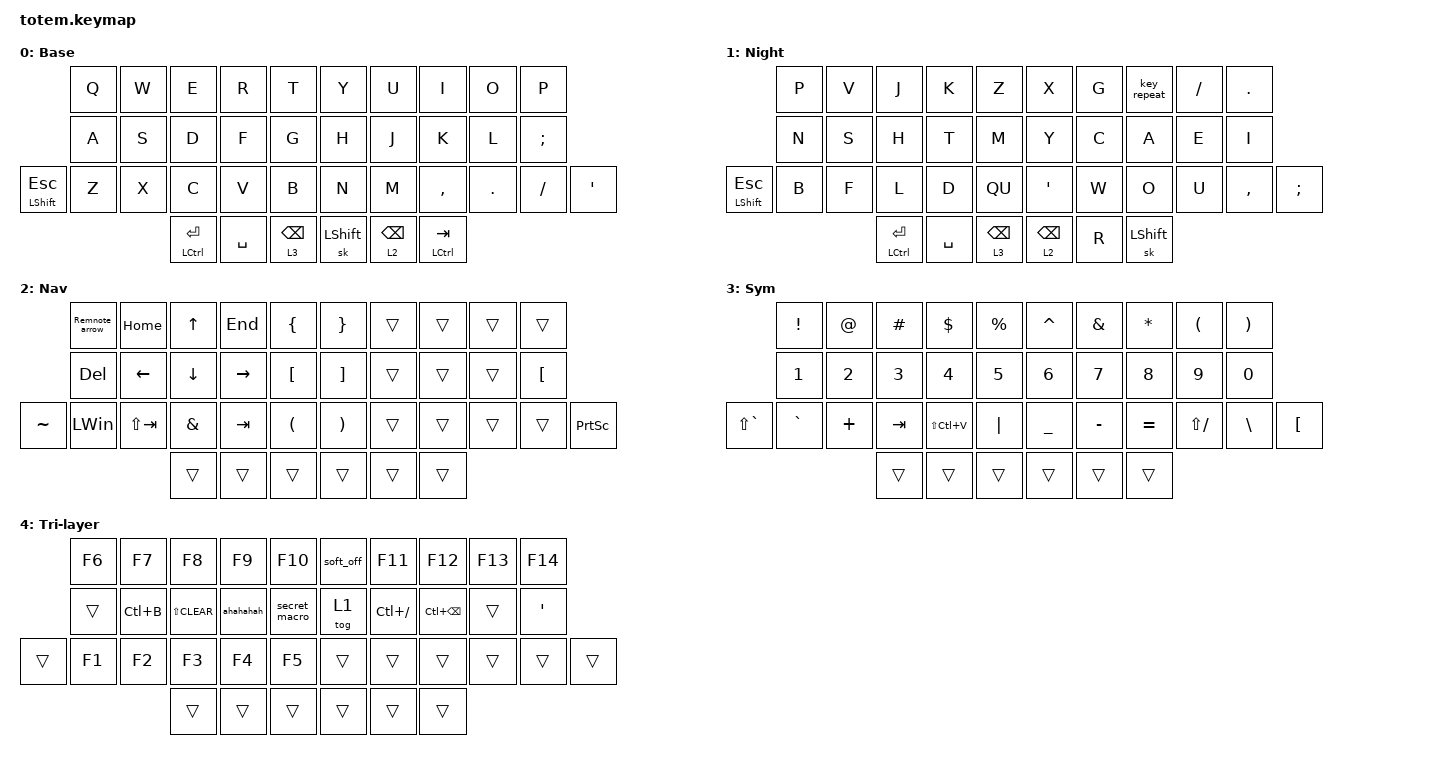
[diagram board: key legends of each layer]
//
//                                                        ▀▀▀▀▀     ▀▀▀▀▀          ▀▀█▀▀
//                                                        ▄▀▀▀▄  ▄  ▄▀▀▀▄  ▄  ▄▀▀▀▄  █  ▄▀▀▀▄
//                                                        █   █  █  █   █  █  █   █  █  █   █
//                                                         ▀▀▀   █   ▀▀▀   █   ▀▀▀   ▀   ▀▀▀
//                                                               █      ▄▄▄█▄▄▄    █   █  
//                                                               ▀      █  █  █     █▄█
//                                                             ▀▀▀▀▀    █  █  █      ▀
//                                                                      ▀  ▀  ▀
//
// ▄▄▄▄▄▄▄▄▄▄▄▄▄▄▄▄▄▄▄▄▄▄▄▄▄▄▄▄▄▄▄▄▄▄▄▄▄▄▄▄▄▄▄▄▄▄▄▄▄▄▄▄▄▄▄▄▄▄▄▄▄▄▄▄▄▄▄▄▄▄▄▄▄▄▄▄▄▄▄▄▄▄▄▄▄▄▄▄▄▄▄▄▄▄▄▄▄▄▄▄▄▄▄▄▄▄▄▄▄▄▄▄▄▄▄▄▄▄▄▄▄▄▄▄▄▄▄▄▄▄▄▄▄▄▄▄▄▄▄▄▄▄▄▄▄▄▄▄▄

#include <behaviors.dtsi>
#include <dt-bindings/zmk/keys.h>

#define Base        0
#define Nav         1
#define Sym         2
#define Fun         3
#define Game        4
#define Gameplus    5

&mt {
    quick-tap-ms = <160>;
    global-quick-tap;
    flavor = "hold-preferred";
    tapping-term-ms = <200>;
};

&lt {
    tapping-term-ms = <200>;
    flavor = "hold-preferred";
    quick-tap-ms = <160>;
};

/ {
    #include "secret_macro.overlay" // separate overlay file
    behaviors {
        hm: homerow_mods {
            compatible = "zmk,behavior-hold-tap";
            label = "HOMEROW_MODS";
            #binding-cells = <2>;
            flavor = "tap-preferred";
            tapping-term-ms = <200>;
            quick-tap-ms = <125>;
            global-quick-tap;
            bindings = <&kp>, <&kp>;
        };
    };

    combos {
        compatible = "zmk,combos";

        Del {
            bindings = <&kp DEL>;
            key-positions = <0 1>;
        };

        Lang {
            bindings = <&kp CAPSLOCK>;
            key-positions = <2 13>;
        };

        PrtSc {
            bindings = <&kp PRINTSCREEN>;
            key-positions = <5 15>;
        };

        Capture_full_screen {
            bindings = <&kp KP_PLUS>;
            key-positions = <9 31>;
        };

        Tab {
            bindings = <&kp TAB>;
            key-positions = <22 21>;
        };

        Tri-layer {
            bindings = <&mo 4>;
            key-positions = <33 36>;
        };

        OO {
            bindings = <&OO>;
            key-positions = <28 27>;
        };
    };

    macros {
        QU: QU {
            compatible = "zmk,behavior-macro";
            #binding-cells = <0>;
            bindings = <&kp Q &kp U>;
            label = "QU";
        };

        Remnote_arrow: Remnote_arrow {
            compatible = "zmk,behavior-macro";
            #binding-cells = <0>;
            bindings = <&kp GREATER_THAN &kp GREATER_THAN>;
            label = "REMNOTE_ARROW";
        };
    };

    keymap {
        compatible = "zmk,keymap";

        QWERTY {
            display-name = "Base";
            bindings = <
               &kp Q  &kp W  &kp E            &kp R      &kp T         &kp Y       &kp U       &kp I          &kp O    &kp P
               &kp A  &kp S  &kp D            &kp F      &kp G         &kp H       &kp J       &kp K          &kp L    &kp SEMICOLON
&mt LSHFT ESC  &kp Z  &kp X  &kp C            &kp V      &kp B         &kp N       &kp M       &kp COMMA      &kp DOT  &kp SLASH      &kp APOSTROPHE
                             &mt LCTRL ENTER  &kp SPACE  &lt 3 BSPC    &sk LSHIFT  &lt 2 BSPC  &mt LCTRL TAB
            >;
        };

        Night {
            display-name = "Night";
            bindings = <
               &kp P  &kp V  &kp J            &kp K      &kp Z              &kp X            &kp G  &key_repeat  &kp SLASH  &kp PERIOD
               &kp N  &kp S  &kp H            &kp T      &kp M              &kp Y            &kp C  &kp A        &kp E      &kp I
&mt LSHFT ESC  &kp B  &kp F  &kp L            &kp D      &QU                &kp SQT          &kp W  &kp O        &kp U      &kp COMMA   &kp SEMI
                             &mt LCTRL ENTER  &kp SPACE  &lt 3 BACKSPACE    &lt 2 BACKSPACE  &kp R  &sk LSHIFT
            >;
        };

        Nav {
            display-name = "Nav";
            bindings = <
           &Remnote_arrow  &kp HOME     &kp UP_ARROW   &kp END    &kp LBRC    &kp RBRC  &trans  &trans  &trans  &trans
           &kp DEL         &kp LEFT     &kp DOWN       &kp RIGHT  &kp LBKT    &kp RBKT  &trans  &trans  &trans  &kp LEFT_BRACKET
&kp TILDE  &kp LEFT_WIN    &kp LS(TAB)  &kp AMPERSAND  &kp TAB    &kp LPAR    &kp RPAR  &trans  &trans  &trans  &trans            &kp PRINTSCREEN
                                        &trans         &trans     &trans      &trans    &trans  &trans
            >;
        };

        Sym {
            display-name = "Sym";
            bindings = <
               &kp EXCL      &kp AT        &kp HASH      &kp DOLLAR     &kp PERCENT     &kp CARET       &kp AMPERSAND  &kp ASTERISK  &kp LEFT_PARENTHESIS  &kp RIGHT_PARENTHESIS
               &kp NUMBER_1  &kp NUMBER_2  &kp NUMBER_3  &kp NUMBER_4   &kp NUMBER_5    &kp NUMBER_6    &kp NUMBER_7   &kp NUMBER_8  &kp NUMBER_9          &kp NUMBER_0
&kp LS(GRAVE)  &kp GRAVE     &kp PLUS      &kp TAB       &kp LS(LC(V))  &kp PIPE        &kp UNDERSCORE  &kp MINUS      &kp EQUAL     &kp LS(SLASH)         &kp BACKSLASH          &kp LEFT_BRACKET
                                           &trans        &trans         &trans          &trans          &trans         &trans
            >;
        };

        Tri-layer {
            bindings = <
        &kp F6  &kp F7     &kp F8         &kp F9     &kp F10          &soft_off  &kp F11        &kp F12            &kp F13  &kp F14
        &trans  &kp LC(B)  &kp LS(CLEAR)  &ahahahah  &secret_macro    &tog 1  &kp LC(SLASH)  &kp LC(BACKSPACE)  &trans   &kp SQT
&trans  &kp F1  &kp F2     &kp F3         &kp F4     &kp F5           &trans  &trans         &trans             &trans   &trans   &trans
                           &trans         &trans     &trans           &trans  &trans         &trans
            >;
        };
    };
};
